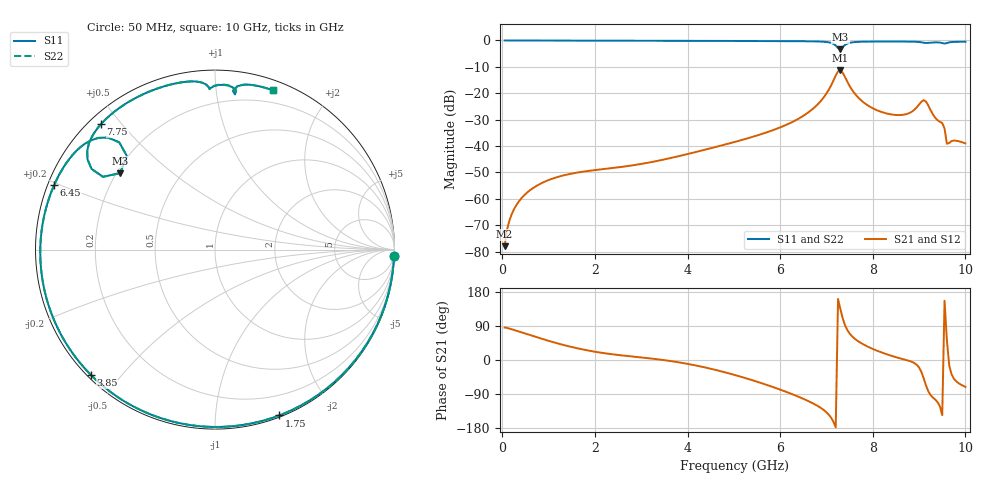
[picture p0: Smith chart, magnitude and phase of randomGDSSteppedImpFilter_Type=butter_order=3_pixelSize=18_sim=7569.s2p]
! freq	dB(S11)	phase(S11)	dB(S12)	phase(S12)
!  dB(S21)	phase(S21)	dB(S22)	phase(S22)
!S-par simulation data
#  GHz  S  DB  R 50
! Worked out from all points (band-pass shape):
!   200 points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, 50 MHz to 10 GHz, reference 50 ohm
!   highest |S21| = -11.22 dB at 7.3 GHz (marker M1); lowest = -77.9 dB at 50 MHz (marker M2)
!   |S21| within 3 dB of the highest: 7.176 GHz to 7.409 GHz (233.1 MHz wide, 3.2 % of centre)
!   lowest |S11| = -3.4 dB at 7.3 GHz (marker M3), VSWR 5.24, Z = 10.7 + j16.9 ohm
!   |S11| at or under -10 dB: nowhere
!   |S22| runs from -3.4 to 0.0 dB; largest |S21 - S12| = 0
!   S11 on the Smith chart (normalised r, x): 50 MHz: 2, -53; 1.75 GHz: 0.01, -1.46; 3.85 GHz: 0.01, -0.42; 6.45 GHz: 0.02, +0.19; 7.75 GHz: 0.03, +0.44; 10 GHz: 0.09, +1.42
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0.05  -0.01 -2.1  -77.90 85.7  -77.90 85.7  -0.01 -2.1
0.1  -0.02 -4.2  -71.91 84.8  -71.91 84.8  -0.02 -4.2
0.2  -0.02 -8.3  -65.93 81.2  -65.93 81.2  -0.02 -8.3
0.5  -0.03 -20.6  -58.18 69.4  -58.18 69.4  -0.03 -20.6
1  -0.05 -40.6  -52.87 50.5  -52.87 50.5  -0.05 -40.6
1.75  -0.08 -68.9  -49.67 27.5  -49.67 27.5  -0.08 -68.9
2.5  -0.11 -94.6  -48.06 13.2  -48.06 13.2  -0.11 -94.6
3.4  -0.14 -122.1  -45.43 1.2  -45.43 1.2  -0.14 -122.1
3.85  -0.15 -134.8  -43.66 -6.9  -43.66 -6.9  -0.15 -134.8
5.05  -0.20 -166.2  -38.29 -40.6  -38.29 -40.6  -0.20 -166.2
6.45  -0.30 158.1  -29.10 -99.7  -29.10 -99.7  -0.30 158.2
6.7  -0.35 151.1  -25.99 -113.9  -25.99 -113.9  -0.35 151.1
7.15  -1.27 133.7  -15.23 -162.8  -15.23 -162.8  -1.27 133.7
7.3  -3.36 141.2  -11.22 134.7  -11.22 134.7  -3.36 141.2
7.45  -1.19 144.6  -15.66 79.2  -15.66 79.2  -1.19 144.7
7.75  -0.50 132.3  -22.70 44.4  -22.70 44.4  -0.50 132.4
8.35  -0.41 114.4  -27.86 13.1  -27.86 13.1  -0.41 114.5
8.75  -0.43 102.8  -27.77 -0.9  -27.77 -0.9  -0.43 102.9
9.1  -0.88 92.0  -22.60 -48.4  -22.60 -48.4  -0.88 92.2
9.5  -0.99 82.5  -31.28 -145.6  -31.28 -145.6  -0.95 82.5
9.6  -1.01 83.6  -39.11 52.8  -39.11 52.8  -0.99 83.4
10  -0.50 70.1  -38.99 -71.0  -38.99 -71.0  -0.50 70.0
